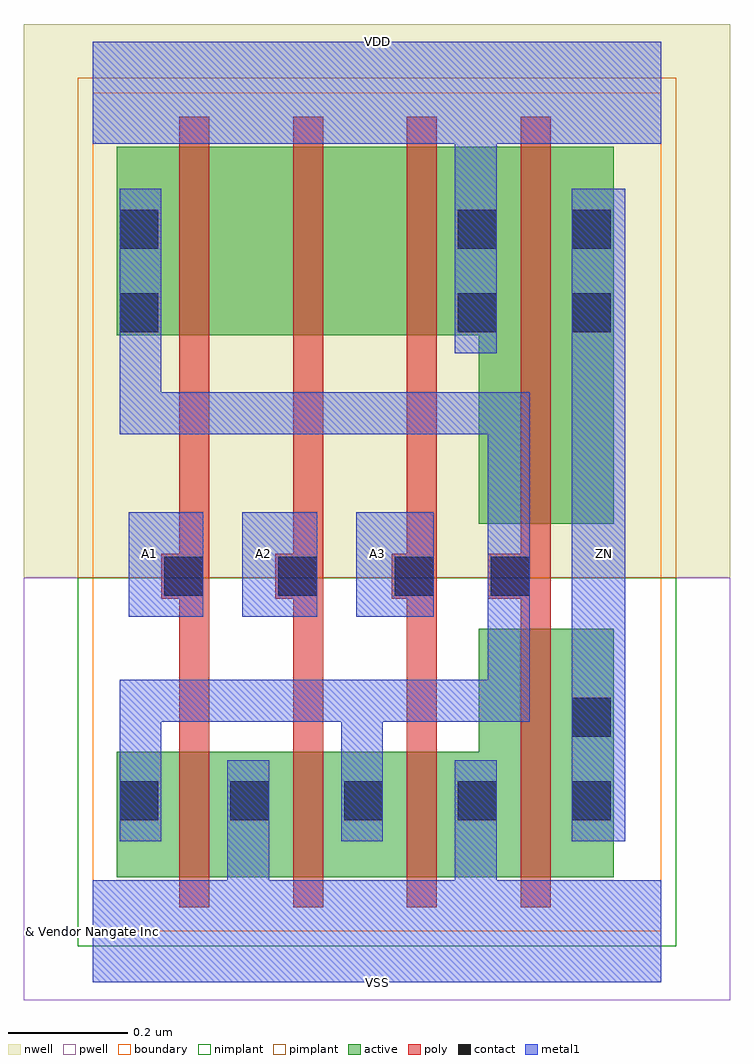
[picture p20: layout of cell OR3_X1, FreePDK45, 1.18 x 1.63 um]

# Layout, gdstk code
import gdstk
lib = gdstk.Library(unit=1e-6, precision=1e-10)
def R(c, l, rs):  # rectangles x0, y0, x1, y1
    for r in rs: c.add(gdstk.rectangle(r[:2], r[2:], *l))
def A(c, l, x, y, w, h, nx, ny, dx, dy):  # array of equal rectangles
    R(c, l, [(x+i*dx, y+j*dy, x+i*dx+w, y+j*dy+h) for i in range(nx) for j in range(ny)])
def P(c, l, *ps):  # polygons
    for p in ps: c.add(gdstk.Polygon(p, *l))
active = (1, 0)
pwell = (2, 0)
nwell = (3, 0)
nimplant = (4, 0)
pimplant = (5, 0)
poly = (9, 0)
contact = (10, 0)
metal1 = (11, 0)
boundary = (235, 0)

or3_x1 = lib.new_cell('OR3_X1')
P(or3_x1, active, [(0.04,0.09),(0.04,0.3),(0.645,0.3),(0.645,0.505),(0.87,0.505),(0.87,0.09)],
  [(0.645,0.68),(0.645,0.995),(0.04,0.995),(0.04,1.31),(0.87,1.31),(0.87,0.68)])
R(or3_x1, pwell, [(-0.115,-0.115,1.065,0.59)])
R(or3_x1, nwell, [(-0.115,0.59,1.065,1.515)])
R(or3_x1, nimplant, [(-0.025,-0.025,0.975,0.59)])
R(or3_x1, pimplant, [(-0.025,0.59,0.975,1.425)])
P(or3_x1, poly, [(0.145,0.04),(0.145,0.555),(0.115,0.555),(0.115,0.63),(0.145,0.63),(0.145,1.36),(0.195,1.36),(0.195,0.04)],
  [(0.335,0.04),(0.335,0.555),(0.305,0.555),(0.305,0.63),(0.335,0.63),(0.335,1.36),(0.385,1.36),(0.385,0.04)],
  [(0.525,0.04),(0.525,0.555),(0.5,0.555),(0.5,0.63),(0.525,0.63),(0.525,1.36),(0.575,1.36),(0.575,0.04)],
  [(0.715,0.04),(0.715,0.555),(0.66,0.555),(0.66,0.63),(0.715,0.63),(0.715,1.36),(0.765,1.36),(0.765,0.04)])
A(or3_x1, contact, 0.23, 0.185, 0.065, 0.065, 4, 1, 0.19, 0)
R(or3_x1, contact, [(0.045,0.185,0.11,0.25), (0.8,0.325,0.865,0.39), (0.12,0.56,0.185,0.625), (0.31,0.56,0.375,0.625), (0.505,0.56,0.57,0.625), (0.665,0.56,0.73,0.625), (0.045,1,0.11,1.065), (0.61,1,0.675,1.065), (0.8,1,0.865,1.065), (0.045,1.14,0.11,1.205), (0.61,1.14,0.675,1.205), (0.8,1.14,0.865,1.205)])
R(or3_x1, metal1, [(0.8,0.15,0.89,1.24), (0.06,0.525,0.185,0.7), (0.25,0.525,0.375,0.7), (0.44,0.525,0.57,0.7)])
P(or3_x1, metal1, [(0.045,0.15),(0.045,0.42),(0.66,0.42),(0.66,0.83),(0.045,0.83),(0.045,1.24),(0.115,1.24),(0.115,0.9),(0.73,0.9),(0.73,0.35),(0.485,0.35),(0.485,0.15),(0.415,0.15),(0.415,0.35),(0.115,0.35),(0.115,0.15)],
  [(0,-0.085),(0,0.085),(0.225,0.085),(0.225,0.285),(0.295,0.285),(0.295,0.085),(0.605,0.085),(0.605,0.285),(0.675,0.285),(0.675,0.085),(0.95,0.085),(0.95,-0.085)],
  [(0.605,0.965),(0.605,1.315),(0,1.315),(0,1.485),(0.95,1.485),(0.95,1.315),(0.675,1.315),(0.675,0.965)])
R(or3_x1, boundary, [(0,0,0.95,1.4)])
or3_x1.add(gdstk.Label('A1', (0.095,0.63), layer=11, texttype=0))
or3_x1.add(gdstk.Label('A2', (0.285,0.63), layer=11, texttype=0))
or3_x1.add(gdstk.Label('A3', (0.475,0.63), layer=11, texttype=0))
or3_x1.add(gdstk.Label('VDD', (0.475,1.485), layer=11, texttype=0))
or3_x1.add(gdstk.Label('VSS', (0.475,-0.085), layer=11, texttype=0))
or3_x1.add(gdstk.Label('ZN', (0.855,0.63), layer=11, texttype=0))
or3_x1.add(gdstk.Label('& Vendor Nangate Inc', (0,0), layer=63, texttype=63))
or3_x1.add(gdstk.Label('& Product Open Cell Library', (0,0), layer=63, texttype=63))
or3_x1.add(gdstk.Label('& Version 2010_12', (0,0), layer=63, texttype=63))
or3_x1.add(gdstk.Label('& Instance OR3_X1', (0,0), layer=63, texttype=63))

lib.write_gds('OR3_X1.gds')
